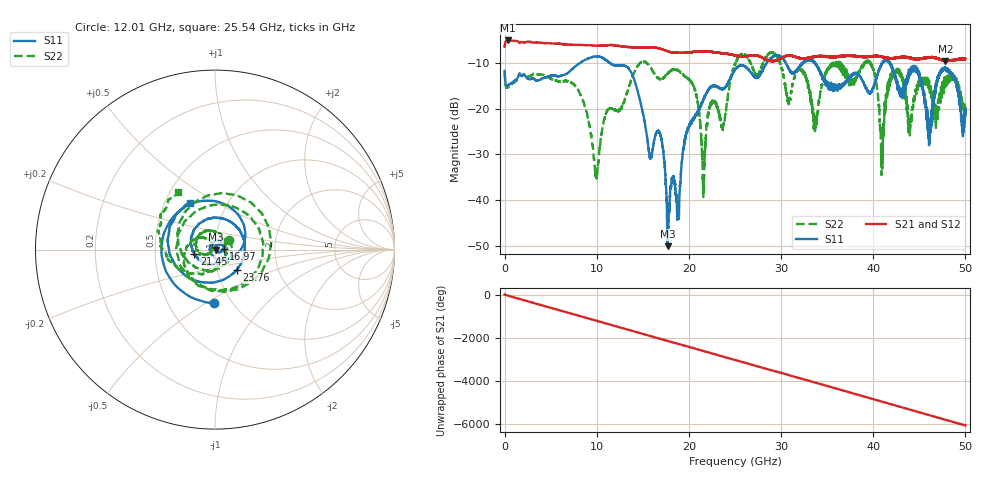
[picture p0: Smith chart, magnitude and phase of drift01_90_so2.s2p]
!Created with skrf (http://scikit-rf.org).
# Hz S RI R 50.0
!freq ReS11 ImS11 ReS21 ImS21 ReS12 ImS12 ReS22 ImS22
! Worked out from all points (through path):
!   10001 points, 300 kHz to 50 GHz, reference 50 ohm
!   highest |S21| = -5.05 dB at 320.3 MHz (marker M1); lowest = -9.6 dB at 47.84 GHz (marker M2)
!   group delay of S21, straight-line fit = 336 ps
!   lowest |S11| = -50.1 dB at 17.69 GHz (marker M3), VSWR 1.01, Z = 50.3 - j0.0982 ohm
!   |S11| at or under -10 dB: start of sweep to 8.165 GHz; 11.43 GHz to 28.43 GHz (17 GHz wide, 85.3 % of centre); 41.8 GHz to end of sweep (the widest 3 of 11)
!   |S22| runs from -39.3 to -7.6 dB; largest |S21 - S12| = 0.015
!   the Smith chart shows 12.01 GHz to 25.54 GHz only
!   S11 on the Smith chart (normalised r, x): 12.01 GHz: 0.83, -0.54; 16.97 GHz: 1.10, +0.01; 21.45 GHz: 0.79, -0.04; 23.76 GHz: 1.24, -0.29; 25.54 GHz: 0.67, +0.38
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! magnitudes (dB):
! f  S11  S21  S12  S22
! 300 kHz  -11.7  -6.4  -6.5  -11.8
! 320.3 MHz  -15.0  -5.1  -5.1  -15.4
! 8.335 GHz  -9.8  -6.0  -6.0  -17.5
! 9.935 GHz  -8.6  -6.2  -6.2  -34.4
! 12.01 GHz  -10.5  -6.1  -6.1  -20.4
! 16.67 GHz  -24.9  -6.7  -6.7  -13.3
! 16.97 GHz  -26.3  -6.9  -6.9  -13.4
! 17.69 GHz  -50.1  -7.4  -7.4  -12.3
! 20.5 GHz  -22.3  -7.6  -7.5  -15.0
! 21.45 GHz  -18.6  -7.4  -7.4  -31.0
! 22.46 GHz  -15.1  -7.6  -7.5  -18.9
! 23.76 GHz  -15.6  -7.9  -7.9  -23.2
! 25 GHz  -11.4  -8.3  -8.3  -10.3
! 25.54 GHz  -10.6  -8.5  -8.5  -8.4
! 33.34 GHz  -9.4  -8.8  -8.7  -19.0
! 39.49 GHz  -16.4  -8.6  -8.6  -9.9
! 40.95 GHz  -10.2  -8.7  -8.6  -29.7
! 41.67 GHz  -9.7  -8.8  -9.0  -14.7
! 44.74 GHz  -11.6  -9.1  -9.0  -14.9
! 46.1 GHz  -24.4  -8.7  -8.7  -15.2
! 47.84 GHz  -11.3  -9.6  -9.6  -14.1
! 50 GHz  -21.1  -9.1  -9.1  -20.2
